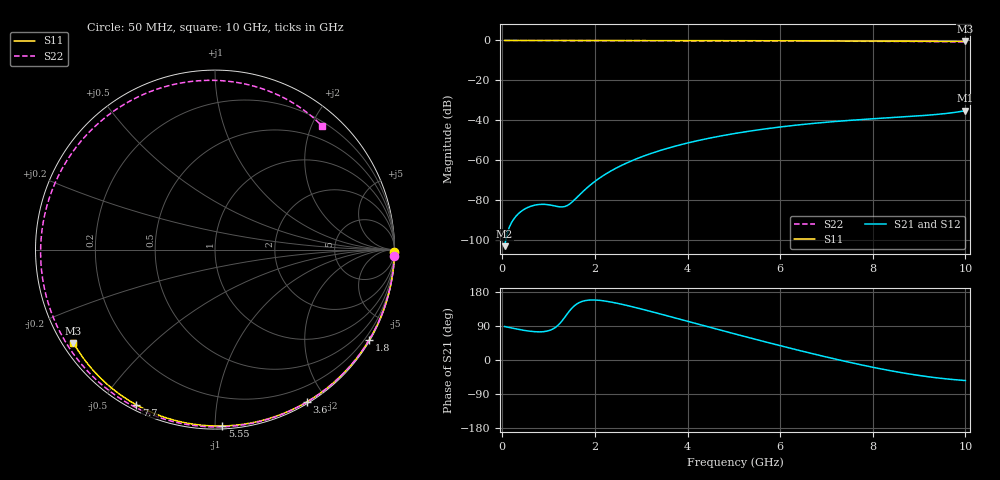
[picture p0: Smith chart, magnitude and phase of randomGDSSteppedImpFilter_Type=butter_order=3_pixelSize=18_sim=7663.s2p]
! freq	dB(S11)	phase(S11)	dB(S12)	phase(S12)
!  dB(S21)	phase(S21)	dB(S22)	phase(S22)
!S-par simulation data
#  GHz  S  DB  R 50
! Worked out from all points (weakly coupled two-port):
!   200 points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, 50 MHz to 10 GHz, reference 50 ohm
!   highest |S21| = -35.26 dB at 10 GHz (marker M1); lowest = -103.2 dB at 50 MHz (marker M2)
!   lowest |S11| = -0.5 dB at 10 GHz (marker M3), VSWR 35.11, Z = 1.55 - j15 ohm
!   |S11| at or under -10 dB: nowhere
!   |S22| runs from -0.8 to 0.0 dB; largest |S21 - S12| = 0
!   S11 on the Smith chart (normalised r, x): 50 MHz: open; 1.8 GHz: 0.03, -3.70; 3.6 GHz: 0.02, -1.77; 5.55 GHz: 0.02, -1.04; 7.7 GHz: 0.02, -0.61; 10 GHz: 0.03, -0.30
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0.05  -0.00 -0.9  -103.25 88.3  -103.25 88.3  -0.00 -1.9
0.4  -0.01 -6.8  -85.91 79.7  -85.91 79.7  -0.02 -15.1
0.75  -0.02 -12.7  -82.46 74.4  -82.46 74.4  -0.04 -28.2
1.55  -0.03 -26.1  -80.17 142.3  -80.17 142.3  -0.07 -57.0
1.75  -0.04 -29.4  -75.65 155.6  -75.65 155.6  -0.08 -63.9
1.8  -0.04 -30.2  -74.58 157.0  -74.58 157.0  -0.08 -65.6
2.1  -0.04 -35.1  -69.07 157.4  -69.07 157.4  -0.09 -75.7
2.45  -0.05 -40.8  -64.18 150.5  -64.18 150.5  -0.10 -87.1
2.9  -0.06 -48.0  -59.39 137.7  -59.39 137.7  -0.12 -101.2
3.4  -0.07 -55.8  -55.30 121.9  -55.30 121.9  -0.14 -116.2
3.6  -0.08 -58.9  -53.91 115.4  -53.91 115.4  -0.14 -122.0
4.35  -0.10 -70.3  -49.63 90.7  -49.63 90.7  -0.18 -143.2
5.05  -0.12 -80.5  -46.58 67.9  -46.58 67.9  -0.21 -162.2
5.55  -0.14 -87.7  -44.80 51.9  -44.80 51.9  -0.24 -175.6
6.1  -0.17 -95.4  -43.16 34.7  -43.16 34.7  -0.28 169.6
6.7  -0.20 -103.6  -41.67 16.6  -41.67 16.6  -0.32 153.2
7.7  -0.27 -116.9  -39.78 -11.5  -39.78 -11.5  -0.40 124.8
8.35  -0.32 -125.3  -38.80 -27.5  -38.80 -27.5  -0.46 105.1
8.8  -0.36 -131.1  -38.15 -37.1  -38.15 -37.1  -0.51 90.8
9.2  -0.40 -136.3  -37.49 -44.3  -37.49 -44.3  -0.57 77.6
9.6  -0.45 -141.4  -36.60 -50.0  -36.60 -50.0  -0.66 63.8
10  -0.49 -146.6  -35.26 -54.2  -35.26 -54.2  -0.81 49.0
